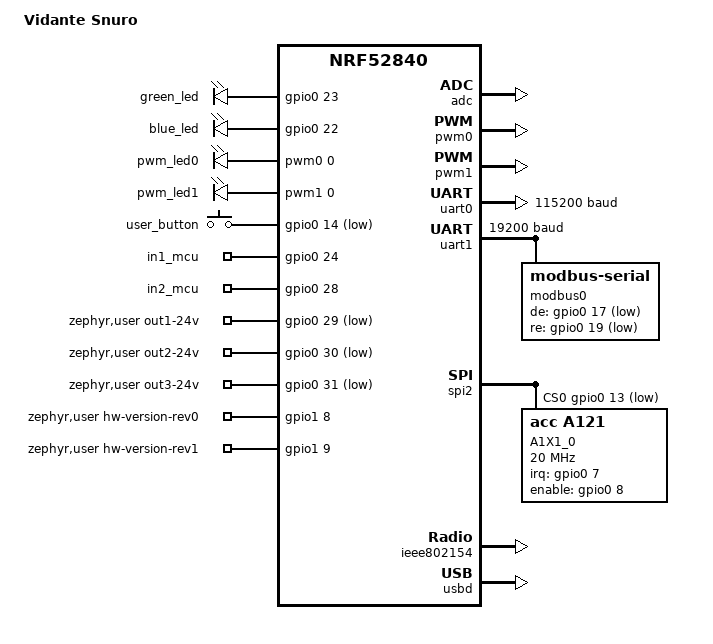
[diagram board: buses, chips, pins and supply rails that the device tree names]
/dts-v1/;
#include <nordic/nrf52840_qiaa.dtsi>
#include "vidante_snuro-pinctrl.dtsi"
#include "vidante_snuro-connectors-gpio.dtsi"
#include "vidante_snuro-connectors-pinctrl.dtsi"

/ {
	model = "Vidante Snuro";
	compatible = "eub,vidante_snuro";

	chosen {
		zephyr,console = &uart0;
		zephyr,shell-uart = &uart0;
		zephyr,uart-mcumgr = &uart0;
		zephyr,bt-mon-uart = &uart0;
		zephyr,bt-c2h-uart = &uart0;
		zephyr,sram = &sram0;
		zephyr,flash = &flash0;
		zephyr,code-partition = &slot0_partition;
		zephyr,ieee802154 = &ieee802154;
	};

	/* These aliases are provided for compatibility with samples */
	aliases {
		led0 = &green_led;
		led1 = &blue_led;
		pwm-led0 = &pwm_led0;
		sw0 = &user_button;
		bootloader-led0 = &green_led;
		mcuboot-button0 = &user_button;
		mcuboot-led0 = &green_led;
		watchdog0 = &wdt0;
	};

	leds {
		compatible = "gpio-leds";
		green_led: green_led {
			gpios = <&gpio0 23 0>;
		};
		blue_led: blue_led {
			gpios = <&gpio0 22 0>;
		};
	};

	pwmleds {
		compatible = "pwm-leds";
		pwm_led0: pwm_led_0 {
			pwms = <&pwm0 0 PWM_MSEC(20) PWM_POLARITY_NORMAL>;
		};

		pwm_led1: pwm_led_1 {
			pwms = <&pwm1 0 PWM_MSEC(20) PWM_POLARITY_NORMAL>;
		};
	};

	buttons {
		/* Warning: This pin is NC, left it in for sample compatibility
		 */
		compatible = "gpio-keys";
		user_button: user_button {
			gpios = <&gpio0 14 (GPIO_PULL_UP | GPIO_ACTIVE_LOW)>;
		};

		in1_mcu: in1_mcu {
			gpios = <&gpio0 24 0>;
		};

		in2_mcu: in2_mcu {
			gpios = <&gpio0 28 0>;
		};
	};

	zephyr,user {
		out1-24v-gpios        = <&gpio0 29 GPIO_ACTIVE_LOW>;
		out2-24v-gpios        = <&gpio0 30 GPIO_ACTIVE_LOW>;
		out3-24v-gpios        = <&gpio0 31 GPIO_ACTIVE_LOW>;

		hw-version-rev0-gpios = <&gpio1 8 GPIO_ACTIVE_HIGH>;
		hw-version-rev1-gpios = <&gpio1 9 GPIO_ACTIVE_HIGH>;
	};

};

&adc {
	status = "okay";
};

&gpiote {
	status = "okay";
};

&gpio0 {
	status = "okay";
};

&gpio1 {
	status = "okay";
};

&pwm0 {
	status = "okay";
	pinctrl-0 = <&pwm0_default>;
	pinctrl-1 = <&pwm0_sleep>;
	pinctrl-names = "default", "sleep";
};

&pwm1 {
	status = "okay";
	pinctrl-0 = <&pwm1_default>;
	pinctrl-1 = <&pwm1_sleep>;
	pinctrl-names = "default", "sleep";
};

&uart0 {
	status = "okay";
	current-speed = <115200>;
	pinctrl-0 = <&uart_pmod1_default>;
	pinctrl-1 = <&uart_pmod1_sleep>;
	pinctrl-names = "default", "sleep";
};

&uart1 {
	status = "okay";
	current-speed = <19200>;
	pinctrl-0 = <&uart1_default>;
	pinctrl-1 = <&uart1_sleep>;
	pinctrl-names = "default", "sleep";

	modbus0 {
		compatible = "zephyr,modbus-serial";
		status = "okay";
		de-gpios = <&gpio0 17 GPIO_ACTIVE_LOW>;
		re-gpios = <&gpio0 19 GPIO_ACTIVE_LOW>;
	};
};

&spi2 {
	compatible = "nordic,nrf-spim";
	status = "okay";
	pinctrl-0 = <&spi2_default>;
	pinctrl-1 = <&spi2_sleep>;
	pinctrl-names = "default", "sleep";

	cs-gpios = <&gpio0 13 GPIO_ACTIVE_LOW>;
	a1x1@0 {
		compatible = "acc,a121";
		status = "okay";
		label = "A1X1_0";
		reg = <0x0>;

		spi-max-frequency = <20000000>;
		board-ref-freq    = <24000000>;
		sensor-stab-time  = <2000>;

		irq-gpios         = <&gpio0 7  GPIO_ACTIVE_HIGH>;
		enable-gpios      = <&gpio0 8  GPIO_ACTIVE_HIGH>;
		// FIXME: add this to radar yaml
		/* reset-gpios       = <&gpio0 12 GPIO_ACTIVE_LOW>; */
	};

};

&ieee802154 {
	status = "okay";
};

&flash0 {
	partitions {
		compatible = "fixed-partitions";
		#address-cells = <1>;
		#size-cells = <1>;

		boot_partition: partition@0 {
			label = "mcuboot";
			reg = <0x00000000 0x0000C000>;
		};
		slot0_partition: partition@c000 {
			label = "image-0";
			reg = <0x0000C000 0x00076000>;
		};
		slot1_partition: partition@82000 {
			label = "image-1";
			reg = <0x00082000 0x00076000>;
		};

		/*
		 * The flash starting at 0x000f8000 and ending at
		 * 0x000fffff is reserved for use by the application.
		 */

		/*
		 * Storage partition will be used by FCB/LittleFS/NVS
		 * if enabled.
		 */
		storage_partition: partition@f8000 {
			label = "storage";
			reg = <0x000f8000 0x00008000>;
		};
	};
};

zephyr_udc0: &usbd {
	status = "okay";
};

&uicr {
	gpio-as-nreset;
};
